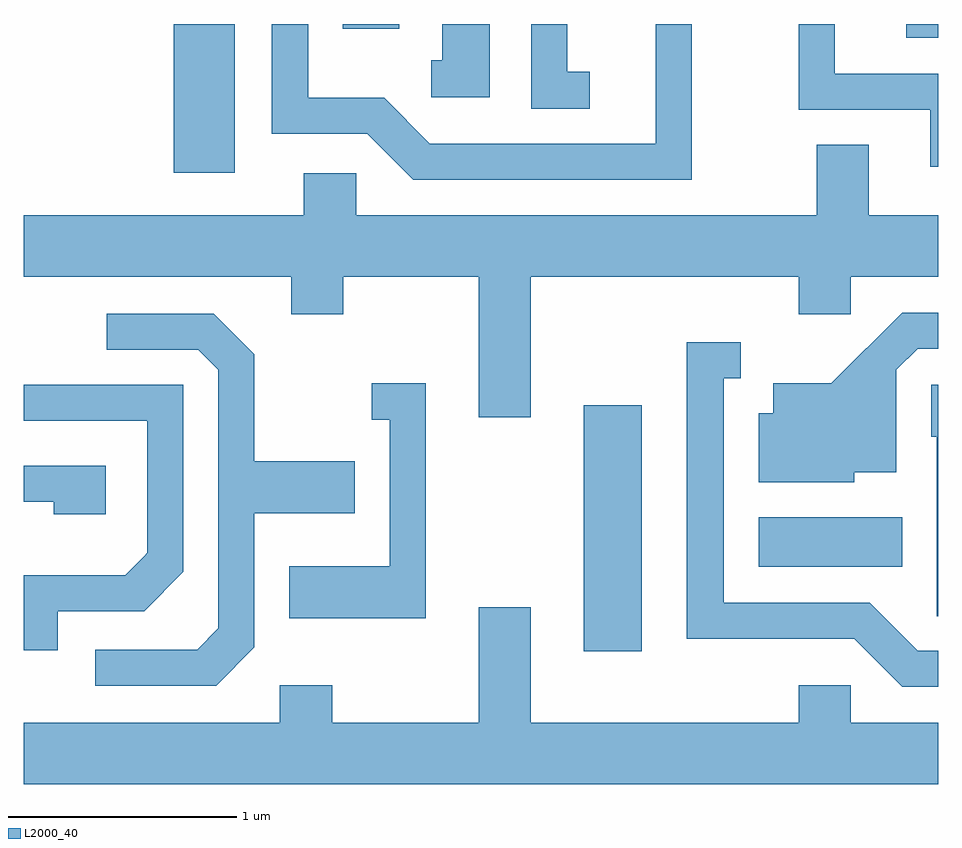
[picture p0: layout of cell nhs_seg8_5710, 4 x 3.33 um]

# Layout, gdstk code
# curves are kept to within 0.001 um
import gdstk
lib = gdstk.Library(unit=1e-6, precision=1e-09)
def R(c, l, rs):  # rectangles x0, y0, x1, y1
    for r in rs: c.add(gdstk.rectangle(r[:2], r[2:], *l))
def P(c, l, *ps):  # polygons
    for p in ps: c.add(gdstk.Polygon(p, *l))
L2000_40 = (2000, 40)

nhs_seg8_5710 = lib.new_cell('nhs_seg8_5710')
R(nhs_seg8_5710, L2000_40, [(358.061,1903.596,358.314,1904.674), (358.826,1903.966,359.454,1904.184), (356.266,1905.691,356.534,1906.342), (359.471,1906.281,359.611,1906.342), (357.006,1906.321,357.254,1906.342)])
P(nhs_seg8_5710, L2000_40, [(358.534,1906.342),(358.376,1906.342),(358.376,1905.819),(357.387,1905.819),(357.187,1906.019),(356.854,1906.019),(356.854,1906.342),(356.696,1906.342),(356.696,1905.861),(357.114,1905.861),(357.314,1905.661),(358.534,1905.661)],
  [(359.611,1906.124),(359.159,1906.124),(359.159,1906.342),(359.001,1906.342),(359.001,1905.966),(359.576,1905.966),(359.576,1905.718),(359.611,1905.718)],
  [(358.088,1906.134),(357.989,1906.134),(357.989,1906.342),(357.831,1906.342),(357.831,1905.971),(358.088,1905.971)],
  [(357.649,1906.342),(357.441,1906.342),(357.441,1906.184),(357.393,1906.184),(357.393,1906.021),(357.649,1906.021)],
  [(357.829,1905.236),(359.001,1905.236),(359.001,1905.071),(359.229,1905.071),(359.229,1905.236),(359.611,1905.236),(359.611,1905.504),(359.309,1905.504),(359.309,1905.814),(359.081,1905.814),(359.081,1905.504),(357.064,1905.504),(357.064,1905.689),(356.836,1905.689),(356.836,1905.504),(355.611,1905.504),(355.611,1905.236),(356.781,1905.236),(356.781,1905.071),(357.009,1905.071),(357.009,1905.236),(357.601,1905.236),(357.601,1904.621),(357.829,1904.621)],
  [(359.244,1904.381),(359.429,1904.381),(359.429,1904.829),(359.522,1904.921),(359.611,1904.921),(359.611,1905.079),(359.454,1905.079),(359.144,1904.769),(358.891,1904.769),(358.891,1904.639),(358.826,1904.639),(358.826,1904.336),(359.244,1904.336)],
  [(356.619,1903.614),(356.619,1904.201),(357.059,1904.201),(357.059,1904.429),(356.619,1904.429),(356.619,1904.897),(356.442,1905.074),(355.973,1905.074),(355.973,1904.916),(356.374,1904.916),(356.461,1904.829),(356.461,1903.697),(356.369,1903.604),(355.923,1903.604),(355.923,1903.446),(356.452,1903.446)],
  [(359.611,1903.599),(359.522,1903.599),(359.312,1903.809),(358.674,1903.809),(358.674,1904.791),(358.748,1904.791),(358.748,1904.949),(358.511,1904.949),(358.511,1903.651),(359.244,1903.651),(359.454,1903.441),(359.611,1903.441)],
  [(357.369,1904.769),(357.133,1904.769),(357.133,1904.611),(357.211,1904.611),(357.211,1903.969),(356.771,1903.969),(356.771,1903.741),(357.369,1903.741)],
  [(355.759,1903.771),(356.137,1903.771),(356.309,1903.944),(356.309,1904.764),(355.611,1904.764),(355.611,1904.606),(356.151,1904.606),(356.151,1904.027),(356.054,1903.929),(355.611,1903.929),(355.611,1903.601),(355.759,1903.601)],
  [(359.611,1904.764),(359.581,1904.764),(359.581,1904.536),(359.606,1904.536),(359.606,1903.751),(359.611,1903.751)],
  [(355.969,1904.409),(355.611,1904.409),(355.611,1904.251),(355.741,1904.251),(355.741,1904.196),(355.969,1904.196)],
  [(359.611,1903.284),(359.229,1903.284),(359.229,1903.449),(359.001,1903.449),(359.001,1903.284),(357.829,1903.284),(357.829,1903.789),(357.601,1903.789),(357.601,1903.284),(356.959,1903.284),(356.959,1903.449),(356.731,1903.449),(356.731,1903.284),(355.611,1903.284),(355.611,1903.016),(359.611,1903.016)])

lib.write_gds('nhs_seg8_5710.gds')
